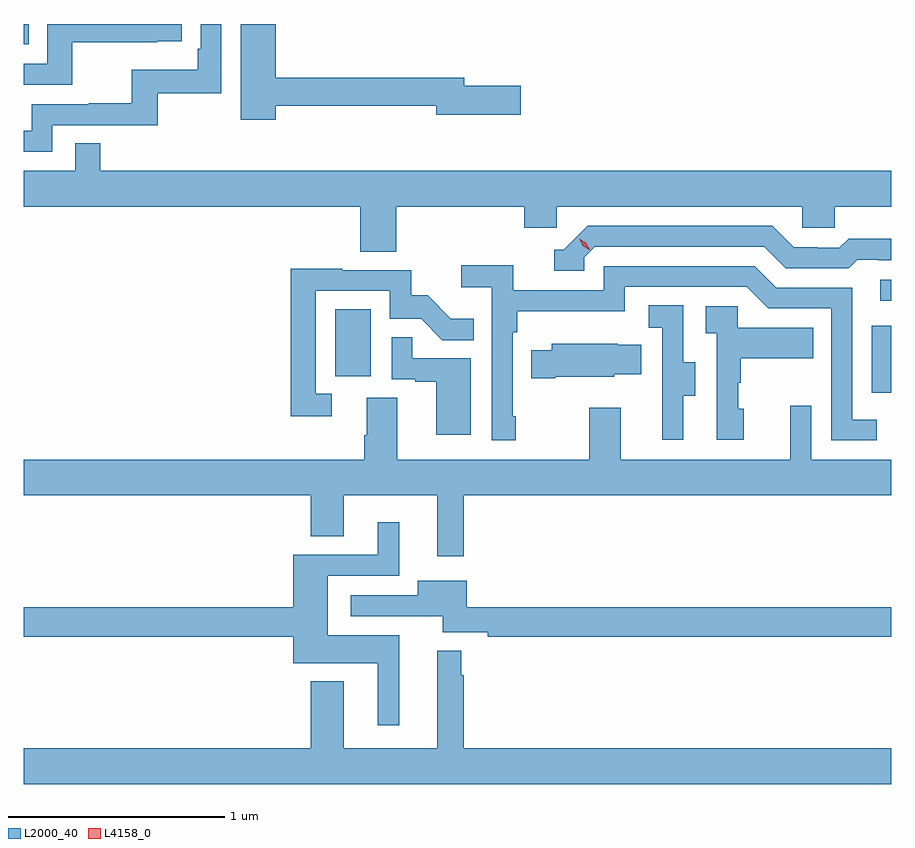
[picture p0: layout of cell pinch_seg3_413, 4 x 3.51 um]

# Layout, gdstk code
import gdstk
lib = gdstk.Library(unit=1e-6, precision=1e-09)
def R(c, l, rs):  # rectangles x0, y0, x1, y1
    for r in rs: c.add(gdstk.rectangle(r[:2], r[2:], *l))
def P(c, l, *ps):  # polygons
    for p in ps: c.add(gdstk.Polygon(p, *l))
L2000_40 = (2000, 40)
L4158_0 = (4158, 0)

pinch_seg3_413 = lib.new_cell('pinch_seg3_413')
R(pinch_seg3_413, L2000_40, [(929.478,702.72,929.567,703.03), (927.002,702.798,927.166,703.105), (929.517,703.146,929.567,703.242), (925.567,704.328,925.589,704.422)])
P(pinch_seg3_413, L2000_40, [(925.698,703.956),(926.185,703.956),(926.185,704.103),(926.478,704.103),(926.478,704.422),(926.382,704.422),(926.382,704.308),(926.369,704.308),(926.369,704.212),(926.064,704.212),(926.064,704.057),(925.867,704.057),(925.867,704.052),(925.602,704.052),(925.602,703.929),(925.567,703.929),(925.567,703.833),(925.698,703.833)],
  [(926.728,704.046),(927.47,704.046),(927.47,704.003),(927.859,704.003),(927.859,704.138),(927.598,704.138),(927.598,704.174),(926.728,704.174),(926.728,704.422),(926.567,704.422),(926.567,703.98),(926.728,703.98)],
  [(925.79,704.338),(926.183,704.338),(926.183,704.343),(926.296,704.343),(926.296,704.422),(925.674,704.422),(925.674,704.238),(925.567,704.238),(925.567,704.142),(925.79,704.142)],
  [(927.284,703.58),(927.875,703.58),(927.875,703.482),(928.026,703.482),(928.026,703.58),(929.157,703.58),(929.157,703.482),(929.307,703.482),(929.307,703.58),(929.567,703.58),(929.567,703.744),(925.919,703.744),(925.919,703.871),(925.803,703.871),(925.803,703.744),(925.567,703.744),(925.567,703.58),(927.119,703.58),(927.119,703.372),(927.284,703.372)],
  [(928.152,703.347),(928.2,703.395),(928.983,703.395),(929.082,703.296),(929.371,703.296),(929.41,703.335),(929.509,703.335),(929.509,703.332),(929.567,703.332),(929.567,703.432),(929.371,703.432),(929.329,703.389),(929.226,703.389),(929.226,703.392),(929.119,703.392),(929.02,703.491),(928.167,703.491),(928.056,703.38),(928.013,703.38),(928.013,703.284),(928.152,703.284)],
  [(927.835,702.613),(927.822,702.613),(927.822,703.001),(927.842,703.001),(927.842,703.097),(928.338,703.097),(928.338,703.209),(928.902,703.209),(929.001,703.11),(929.292,703.11),(929.292,702.501),(929.501,702.501),(929.501,702.597),(929.388,702.597),(929.388,703.206),(929.038,703.206),(928.939,703.305),(928.242,703.305),(928.242,703.194),(927.824,703.194),(927.824,703.31),(927.585,703.31),(927.585,703.208),(927.726,703.208),(927.726,702.501),(927.835,702.501)],
  [(926.986,702.717),(926.913,702.717),(926.913,703.191),(927.255,703.191),(927.255,703.062),(927.399,703.062),(927.497,702.964),(927.641,702.964),(927.641,703.063),(927.537,703.063),(927.43,703.17),(927.354,703.17),(927.354,703.287),(927.035,703.287),(927.035,703.292),(926.797,703.292),(926.797,702.612),(926.986,702.612)],
  [(928.609,702.706),(928.663,702.706),(928.663,702.861),(928.608,702.861),(928.608,703.124),(928.449,703.124),(928.449,703.021),(928.512,703.021),(928.512,702.717),(928.511,702.717),(928.511,702.504),(928.609,702.504)],
  [(928.888,702.648),(928.863,702.648),(928.863,702.767),(928.873,702.767),(928.873,702.881),(929.207,702.881),(929.207,703.021),(928.86,703.021),(928.86,703.119),(928.713,703.119),(928.713,702.995),(928.764,702.995),(928.764,702.504),(928.888,702.504)],
  [(927.628,702.879),(927.359,702.879),(927.359,702.977),(927.264,702.977),(927.264,702.783),(927.371,702.783),(927.371,702.771),(927.47,702.771),(927.47,702.528),(927.628,702.528)],
  [(928.018,702.794),(928.29,702.794),(928.29,702.806),(928.415,702.806),(928.415,702.943),(928.307,702.943),(928.307,702.946),(928.001,702.946),(928.001,702.916),(927.907,702.916),(927.907,702.787),(928.018,702.787)],
  [(927.595,702.248),(929.567,702.248),(929.567,702.412),(929.199,702.412),(929.199,702.661),(929.102,702.661),(929.102,702.412),(928.321,702.412),(928.321,702.652),(928.174,702.652),(928.174,702.412),(927.289,702.412),(927.289,702.698),(927.149,702.698),(927.149,702.524),(927.137,702.524),(927.137,702.412),(925.567,702.412),(925.567,702.248),(926.891,702.248),(926.891,702.058),(927.043,702.058),(927.043,702.248),(927.473,702.248),(927.473,701.967),(927.595,701.967)],
  [(927.298,701.602),(926.968,701.602),(926.968,701.877),(927.298,701.877),(927.298,702.124),(927.2,702.124),(927.2,701.973),(926.81,701.973),(926.81,701.732),(925.567,701.732),(925.567,701.596),(926.81,701.596),(926.81,701.474),(927.2,701.474),(927.2,701.187),(927.298,701.187)],
  [(929.567,701.732),(927.61,701.732),(927.61,701.854),(927.383,701.854),(927.383,701.787),(927.075,701.787),(927.075,701.691),(927.5,701.691),(927.5,701.616),(927.706,701.616),(927.706,701.596),(929.567,701.596)],
  [(929.567,701.08),(927.595,701.08),(927.595,701.417),(927.584,701.417),(927.584,701.53),(927.473,701.53),(927.473,701.08),(927.043,701.08),(927.043,701.389),(926.891,701.389),(926.891,701.08),(925.567,701.08),(925.567,700.916),(929.567,700.916)])
P(pinch_seg3_413, L4158_0, [(928.175,703.38),(928.144,703.4),(928.128,703.432),(928.128,703.432),(928.128,703.432),(928.159,703.413),(928.176,703.381),(928.176,703.38)])

lib.write_gds('pinch_seg3_413.gds')
